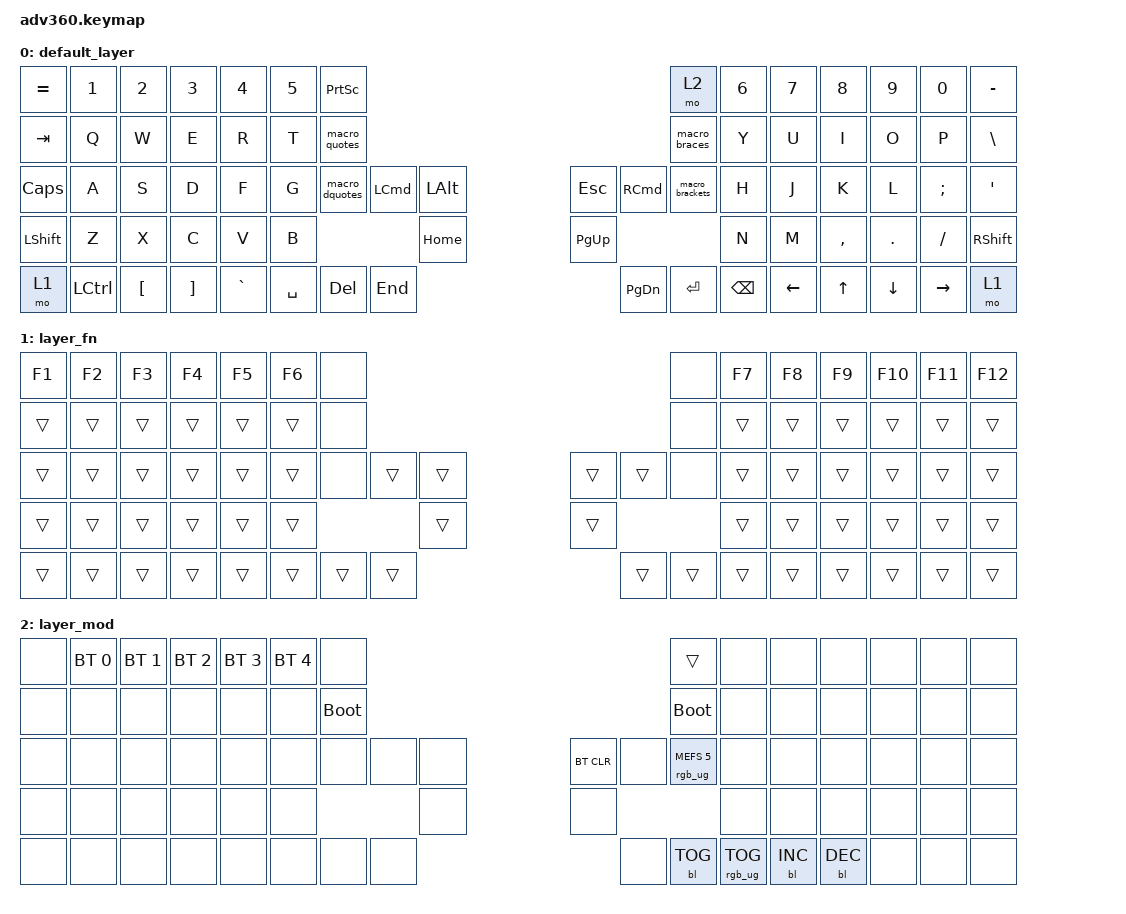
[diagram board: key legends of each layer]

/*
 * Copyright (c) 2020 The ZMK Contributors
 *
 * SPDX-License-Identifier: MIT
 */


/* THIS FILE WAS GENERATED!
 *
 * This file was generated automatically. You may or may not want to
 * edit it directly.
 */

#include <behaviors.dtsi>
#include <dt-bindings/zmk/keys.h>
#include <dt-bindings/zmk/bt.h>
#include <dt-bindings/zmk/rgb.h>
#include <dt-bindings/zmk/backlight.h>

/ {
  behaviors {
    #include "macros.dtsi"
    #include "version.dtsi"

    hm: homerow_mods {
        compatible = "zmk,behavior-hold-tap";
        label = "HOMEROW_MODS";
        #binding-cells = <2>;
        tapping-term-ms = <200>;
        quick_tap_ms = <175>;
        flavor = "tap-preferred";
        bindings = <&kp>, <&kp>;
    };
  };

    keymap {
        compatible = "zmk,keymap";


        default_layer {
            bindings = <
 &kp EQUAL     &kp N1    &kp N2    &kp N3     &kp N4  &kp N5                 &kp PSCRN                                                                                      &mo 2  &kp N6    &kp N7     &kp N8    &kp N9     &kp N0  &kp MINUS
   &kp TAB      &kp Q     &kp W     &kp E      &kp R   &kp T             &macro_quotes                                                                              &macro_braces   &kp Y     &kp U      &kp I     &kp O      &kp P   &kp BSLH
  &kp CAPS      &kp A     &kp S     &kp D      &kp F   &kp G            &macro_dquotes  &kp LEFT_COMMAND  &kp LALT                    &kp ESC  &kp RIGHT_COMMAND  &macro_brackets   &kp H     &kp J      &kp K     &kp L   &kp SEMI    &kp SQT
 &kp LSHFT      &kp Z     &kp X     &kp C      &kp V   &kp B                                              &kp HOME                  &kp PG_UP                                       &kp N     &kp M  &kp COMMA   &kp DOT   &kp FSLH  &kp RSHFT
     &mo 1  &kp LCTRL  &kp LBKT  &kp RBKT  &kp GRAVE                         &kp SPACE           &kp DEL   &kp END                  &kp PG_DN          &kp ENTER    &kp BACKSPACE          &kp LEFT     &kp UP  &kp DOWN  &kp RIGHT      &mo 1
            >;
        };

        layer_fn {
            bindings = <
 &kp F1  &kp F2  &kp F3  &kp F4  &kp F5  &kp F6             &none                                                   &none  &kp F7  &kp F8  &kp F9  &kp F10  &kp F11  &kp F12
 &trans  &trans  &trans  &trans  &trans  &trans             &none                                                   &none  &trans  &trans  &trans   &trans   &trans   &trans
 &trans  &trans  &trans  &trans  &trans  &trans             &none  &trans  &trans                  &trans  &trans   &none  &trans  &trans  &trans   &trans   &trans   &trans
 &trans  &trans  &trans  &trans  &trans  &trans                            &trans                  &trans                  &trans  &trans  &trans   &trans   &trans   &trans
 &trans  &trans  &trans  &trans  &trans                    &trans  &trans  &trans                  &trans  &trans  &trans          &trans  &trans   &trans   &trans   &trans
            >;
        };

        layer_mod {
            bindings = <
  &none  &bt BT_SEL 0  &bt BT_SEL 1  &bt BT_SEL 2  &bt BT_SEL 3  &bt BT_SEL 4                  &none                                                                          &trans   &none       &none       &none   &none   &none   &none
  &none         &none         &none         &none         &none         &none            &bootloader                                                                     &bootloader   &none       &none       &none   &none   &none   &none
  &none         &none         &none         &none         &none         &none                  &none   &none   &none                  &bt BT_CLR       &none  &rgb_ug RGB_MEFS_CMD 5   &none       &none       &none   &none   &none   &none
  &none         &none         &none         &none         &none         &none                                  &none                       &none                                       &none       &none       &none   &none   &none   &none
  &none         &none         &none         &none         &none                                &none   &none   &none                       &none  &bl BL_TOG         &rgb_ug RGB_TOG          &bl BL_INC  &bl BL_DEC   &none   &none   &none
            >;
        };

    };
};
